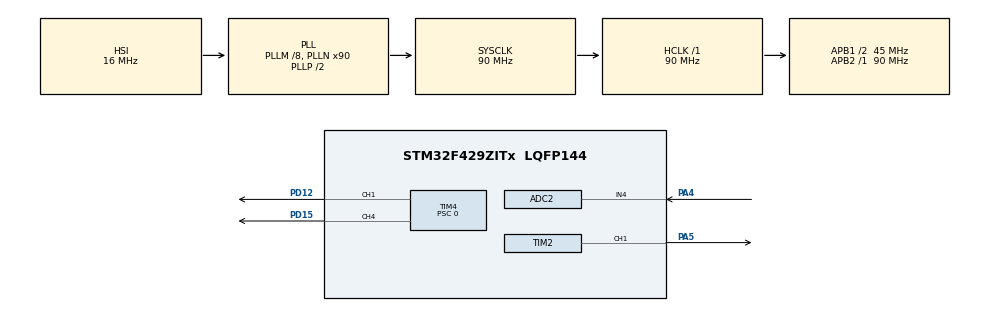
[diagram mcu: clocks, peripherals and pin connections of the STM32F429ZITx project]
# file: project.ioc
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ADC1.Channel-4\#ChannelRegularConversion=ADC_CHANNEL_TEMPSENSOR
ADC1.NbrOfConversionFlag=1
ADC1.Rank-4\#ChannelRegularConversion=1
ADC1.SamplingTime-4\#ChannelRegularConversion=ADC_SAMPLETIME_15CYCLES
ADC1.ScanConvMode=ENABLE
ADC1.master=1
ADC2.Channel-0\#ChannelRegularConversion=ADC_CHANNEL_4
ADC2.NbrOfConversionFlag=1
ADC2.Rank-0\#ChannelRegularConversion=1
ADC2.SamplingTime-0\#ChannelRegularConversion=ADC_SAMPLETIME_144CYCLES
ADC2.ScanConvMode=DISABLE
Mcu.Family=STM32F4
Mcu.Name=STM32F429ZITx
Mcu.Package=LQFP144
NVIC.ADC_IRQn=true\:0\:0\:false\:false\:true\:true\:true\:true
NVIC.PriorityGroup=NVIC_PRIORITYGROUP_4
NVIC.TIM4_IRQn=true\:0\:0\:false\:false\:true\:true\:true\:true
PA13.Mode=Serial_Wire
PA13.Signal=SYS_JTMS-SWDIO
PA14.Mode=Serial_Wire
PA14.Signal=SYS_JTCK-SWCLK
PA4.Signal=ADCx_IN4
PA5.Signal=S_TIM2_CH1_ETR
PD12.Signal=S_TIM4_CH1
PD15.Signal=S_TIM4_CH4
PH0/OSC_IN.Mode=HSE-External-Oscillator
PH0/OSC_IN.Signal=RCC_OSC_IN
PH1/OSC_OUT.Mode=HSE-External-Oscillator
PH1/OSC_OUT.Signal=RCC_OSC_OUT
ProjectManager.HeapSize=0x200
ProjectManager.StackSize=0x400
ProjectManager.TargetToolchain=STM32CubeIDE
RCC.48MHZClocksFreq_Value=45000000
RCC.AHBFreq_Value=90000000
RCC.APB1CLKDivider=RCC_HCLK_DIV2
RCC.APB1Freq_Value=45000000
RCC.APB1TimFreq_Value=90000000
RCC.APB2Freq_Value=90000000
RCC.APB2TimFreq_Value=90000000
RCC.CortexFreq_Value=90000000
RCC.HCLKFreq_Value=90000000
RCC.HSE_VALUE=25000000
RCC.HSI_VALUE=16000000
RCC.LSE_VALUE=32768
RCC.PLLM=8
RCC.PLLN=90
RCC.SYSCLKFreq_VALUE=90000000
RCC.SYSCLKSource=RCC_SYSCLKSOURCE_PLLCLK
RCC.VCOOutputFreq_Value=180000000
SH.ADCx_IN4.0=ADC2_IN4,IN4
SH.S_TIM2_CH1_ETR.0=TIM2_CH1,PWM Generation1 CH1
SH.S_TIM4_CH1.0=TIM4_CH1,PWM Generation1 CH1
SH.S_TIM4_CH4.0=TIM4_CH4,PWM Generation4 CH4
TIM2.AutoReloadPreload=TIM_AUTORELOAD_PRELOAD_ENABLE
TIM2.Channel-PWM\ Generation1\ CH1=TIM_CHANNEL_1
TIM2.Period=255
TIM2.Prescaler=49
TIM2.TIM_MasterOutputTrigger=TIM_TRGO_RESET
TIM4.Channel-PWM\ Generation1\ CH1=TIM_CHANNEL_1
TIM4.Channel-PWM\ Generation4\ CH4=TIM_CHANNEL_4
TIM4.Period=63
TIM4.Prescaler=0
VP_ADC1_TempSens_Input.Mode=IN-TempSens
VP_TIM2_VS_ClockSourceINT.Mode=Internal
VP_TIM4_VS_ClockSourceINT.Mode=Internal
board=custom

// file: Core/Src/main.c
/* USER CODE BEGIN Header */
/* USER CODE END Header */
#include "main.h"

/* USER CODE BEGIN PD */
#define tV_25   0.76f      // Напряжение (в вольтах) на датчике при температуре 25 °C.
#define tSlope  0.0025f    // �?зменение напряжения (в вольтах) при изменении температуры на градус.
#define Vref    3.0f       // Образцовое напряжение АЦП (в вольтах).
#define ADC_CHANNELS_NUM 2
/* USER CODE END PD */

 ADC_HandleTypeDef hadc1;
ADC_HandleTypeDef hadc2;

TIM_HandleTypeDef htim2;
TIM_HandleTypeDef htim4;

void SystemClock_Config(void);
static void MX_GPIO_Init(void);
static void MX_TIM2_Init(void);
static void MX_ADC1_Init(void);
static void MX_TIM4_Init(void);
static void MX_ADC2_Init(void);

/* USER CODE BEGIN 0 */
int adcConvCpltFlag = 0;
float adcData[ADC_CHANNELS_NUM];
float adcVoltage[ADC_CHANNELS_NUM];

void HAL_ADC_ConvCpltCallback(ADC_HandleTypeDef* hadc)
{
  if (hadc->Instance == ADC1){
    adcData[0] = HAL_ADC_GetValue(&hadc1);
    adcVoltage[0] = (float) adcData[0] * Vref / 4096.0;
    adcConvCpltFlag = 1;  // Установить флаг завершения преобразования
  }
  if (hadc->Instance == ADC2){
      adcData[1] = HAL_ADC_GetValue(&hadc2);
      adcVoltage[1] = (float) adcData[1] * Vref / 4095.0;
      adcConvCpltFlag = 1;  // Установить флаг завершения преобразования
    }
}

#define M_PI 3.14f
#define TAN_TABLE_SIZE 360
double tan_table[TAN_TABLE_SIZE];

void init_tan_table()
{
  for (int i = 0; i < TAN_TABLE_SIZE; i++)
  {
    double angle = (i * M_PI) / 180;
    tan_table[i] = tan(angle) / 5;
    if (fabs(tan_table[i]) >= TIM4->ARR)
    {
      tan_table[i] = tan_table[i] > 0 ? TIM4->ARR : -TIM4->ARR;
    }
  }
}

int t31 = -1;
/* USER CODE END 0 */

int main(void)
{

  /* MCU Configuration--------------------------------------------------------*/

  /* Reset of all peripherals, Initializes the Flash interface and the Systick. */
  HAL_Init();

  /* Configure the system clock */
  SystemClock_Config();

  /* Initialize all configured peripherals */
  MX_GPIO_Init();
  MX_TIM2_Init();
  MX_ADC1_Init();
  MX_TIM4_Init();
  MX_ADC2_Init();
  /* USER CODE BEGIN 2 */
  HAL_TIM_PWM_Start(&htim2, TIM_CHANNEL_1);
  HAL_TIM_PWM_Start(&htim4, TIM_CHANNEL_1);
  HAL_TIM_PWM_Start(&htim4, TIM_CHANNEL_4);

  double temp;
  int sin_index = 0;
  init_tan_table();

  int max_tim = 0;
  double max_adc = 0;

  HAL_ADC_Start_IT(&hadc1); // Запуск АЦП с прерываниями
  HAL_ADC_Start_IT(&hadc2); // Запуск АЦП с прерываниями

  /* USER CODE END 2 */

  /* Infinite loop */
  /* USER CODE BEGIN WHILE */
  while (1)
  {
    if (adcConvCpltFlag)  // Проверить флаг завершения преобразования
    {
      adcConvCpltFlag = 0;  // Сбросить флаг

      temp = (double)(adcVoltage[0] - tV_25) / tSlope + 25;

      if (temp > 36)
        TIM2->CCR1 = 0;
      else if (temp > 41)
        TIM2->CCR1 = TIM2->ARR - 1;
      else
        TIM2->CCR1 = temp / 41 * 255;

      TIM4->CCR1 = (tan_table[sin_index] + 1) * 0.5 * TIM4->ARR;
      sin_index = (sin_index + 1) % TAN_TABLE_SIZE;

      if (adcVoltage[1] > max_adc)
        max_adc = adcVoltage[1];

      float coefficient = TIM4->ARR / 3;
      t31 = (int) adcVoltage[1] * coefficient;
      TIM4->CCR4 = (int) t31;

      HAL_ADC_Start_IT(&hadc1);  // Перезапуск АЦП с прерываниями
      HAL_ADC_Start_IT(&hadc2); // Запуск АЦП с прерываниями
    }

    HAL_Delay(10);
  }
    /* USER CODE END WHILE */

}

void SystemClock_Config(void)
{
  RCC_OscInitTypeDef RCC_OscInitStruct = {0};
  RCC_ClkInitTypeDef RCC_ClkInitStruct = {0};

  /** Configure the main internal regulator output voltage
  */
  __HAL_RCC_PWR_CLK_ENABLE();
  __HAL_PWR_VOLTAGESCALING_CONFIG(PWR_REGULATOR_VOLTAGE_SCALE3);

  /** Initializes the RCC Oscillators according to the specified parameters
  * in the RCC_OscInitTypeDef structure.
  */
  RCC_OscInitStruct.OscillatorType = RCC_OSCILLATORTYPE_HSI;
  RCC_OscInitStruct.HSIState = RCC_HSI_ON;
  RCC_OscInitStruct.HSICalibrationValue = RCC_HSICALIBRATION_DEFAULT;
  RCC_OscInitStruct.PLL.PLLState = RCC_PLL_ON;
  RCC_OscInitStruct.PLL.PLLSource = RCC_PLLSOURCE_HSI;
  RCC_OscInitStruct.PLL.PLLM = 8;
  RCC_OscInitStruct.PLL.PLLN = 90;
  RCC_OscInitStruct.PLL.PLLP = RCC_PLLP_DIV2;
  RCC_OscInitStruct.PLL.PLLQ = 4;
  if (HAL_RCC_OscConfig(&RCC_OscInitStruct) != HAL_OK)
  {
    Error_Handler();
  }

  /** Activate the Over-Drive mode
  */
  if (HAL_PWREx_EnableOverDrive() != HAL_OK)
  {
    Error_Handler();
  }

  /** Initializes the CPU, AHB and APB buses clocks
  */
  RCC_ClkInitStruct.ClockType = RCC_CLOCKTYPE_HCLK|RCC_CLOCKTYPE_SYSCLK
                              |RCC_CLOCKTYPE_PCLK1|RCC_CLOCKTYPE_PCLK2;
  RCC_ClkInitStruct.SYSCLKSource = RCC_SYSCLKSOURCE_PLLCLK;
  RCC_ClkInitStruct.AHBCLKDivider = RCC_SYSCLK_DIV1;
  RCC_ClkInitStruct.APB1CLKDivider = RCC_HCLK_DIV2;
  RCC_ClkInitStruct.APB2CLKDivider = RCC_HCLK_DIV1;

  if (HAL_RCC_ClockConfig(&RCC_ClkInitStruct, FLASH_LATENCY_2) != HAL_OK)
  {
    Error_Handler();
  }
}

static void MX_ADC1_Init(void)
{

  ADC_ChannelConfTypeDef sConfig = {0};

  /** Configure the global features of the ADC (Clock, Resolution, Data Alignment and number of conversion)
  */
  hadc1.Instance = ADC1;
  hadc1.Init.ClockPrescaler = ADC_CLOCK_SYNC_PCLK_DIV4;
  hadc1.Init.Resolution = ADC_RESOLUTION_12B;
  hadc1.Init.ScanConvMode = ENABLE;
  hadc1.Init.ContinuousConvMode = DISABLE;
  hadc1.Init.DiscontinuousConvMode = DISABLE;
  hadc1.Init.ExternalTrigConvEdge = ADC_EXTERNALTRIGCONVEDGE_NONE;
  hadc1.Init.ExternalTrigConv = ADC_SOFTWARE_START;
  hadc1.Init.DataAlign = ADC_DATAALIGN_RIGHT;
  hadc1.Init.NbrOfConversion = 1;
  hadc1.Init.DMAContinuousRequests = DISABLE;
  hadc1.Init.EOCSelection = ADC_EOC_SINGLE_CONV;
  if (HAL_ADC_Init(&hadc1) != HAL_OK)
  {
    Error_Handler();
  }

  /** Configure for the selected ADC regular channel its corresponding rank in the sequencer and its sample time.
  */
  sConfig.Channel = ADC_CHANNEL_TEMPSENSOR;
  sConfig.Rank = 1;
  sConfig.SamplingTime = ADC_SAMPLETIME_15CYCLES;
  if (HAL_ADC_ConfigChannel(&hadc1, &sConfig) != HAL_OK)
  {
    Error_Handler();
  }

}

static void MX_ADC2_Init(void)
{

  ADC_ChannelConfTypeDef sConfig = {0};

  /** Configure the global features of the ADC (Clock, Resolution, Data Alignment and number of conversion)
  */
  hadc2.Instance = ADC2;
  hadc2.Init.ClockPrescaler = ADC_CLOCK_SYNC_PCLK_DIV4;
  hadc2.Init.Resolution = ADC_RESOLUTION_12B;
  hadc2.Init.ScanConvMode = DISABLE;
  hadc2.Init.ContinuousConvMode = DISABLE;
  hadc2.Init.DiscontinuousConvMode = DISABLE;
  hadc2.Init.ExternalTrigConvEdge = ADC_EXTERNALTRIGCONVEDGE_NONE;
  hadc2.Init.ExternalTrigConv = ADC_SOFTWARE_START;
  hadc2.Init.DataAlign = ADC_DATAALIGN_RIGHT;
  hadc2.Init.NbrOfConversion = 1;
  hadc2.Init.DMAContinuousRequests = DISABLE;
  hadc2.Init.EOCSelection = ADC_EOC_SINGLE_CONV;
  if (HAL_ADC_Init(&hadc2) != HAL_OK)
  {
    Error_Handler();
  }

  /** Configure for the selected ADC regular channel its corresponding rank in the sequencer and its sample time.
  */
  sConfig.Channel = ADC_CHANNEL_4;
  sConfig.Rank = 1;
  sConfig.SamplingTime = ADC_SAMPLETIME_144CYCLES;
  if (HAL_ADC_ConfigChannel(&hadc2, &sConfig) != HAL_OK)
  {
    Error_Handler();
  }

}

static void MX_TIM2_Init(void)
{

  TIM_ClockConfigTypeDef sClockSourceConfig = {0};
  TIM_MasterConfigTypeDef sMasterConfig = {0};
  TIM_OC_InitTypeDef sConfigOC = {0};

  htim2.Instance = TIM2;
  htim2.Init.Prescaler = 49;
  htim2.Init.CounterMode = TIM_COUNTERMODE_UP;
  htim2.Init.Period = 255;
  htim2.Init.ClockDivision = TIM_CLOCKDIVISION_DIV1;
  htim2.Init.AutoReloadPreload = TIM_AUTORELOAD_PRELOAD_ENABLE;
  if (HAL_TIM_Base_Init(&htim2) != HAL_OK)
  {
    Error_Handler();
  }
  sClockSourceConfig.ClockSource = TIM_CLOCKSOURCE_INTERNAL;
  if (HAL_TIM_ConfigClockSource(&htim2, &sClockSourceConfig) != HAL_OK)
  {
    Error_Handler();
  }
  if (HAL_TIM_PWM_Init(&htim2) != HAL_OK)
  {
    Error_Handler();
  }
  sMasterConfig.MasterOutputTrigger = TIM_TRGO_RESET;
  sMasterConfig.MasterSlaveMode = TIM_MASTERSLAVEMODE_DISABLE;
  if (HAL_TIMEx_MasterConfigSynchronization(&htim2, &sMasterConfig) != HAL_OK)
  {
    Error_Handler();
  }
  sConfigOC.OCMode = TIM_OCMODE_PWM1;
  sConfigOC.Pulse = 0;
  sConfigOC.OCPolarity = TIM_OCPOLARITY_HIGH;
  sConfigOC.OCFastMode = TIM_OCFAST_DISABLE;
  if (HAL_TIM_PWM_ConfigChannel(&htim2, &sConfigOC, TIM_CHANNEL_1) != HAL_OK)
  {
    Error_Handler();
  }
  HAL_TIM_MspPostInit(&htim2);

}

static void MX_TIM4_Init(void)
{

  TIM_ClockConfigTypeDef sClockSourceConfig = {0};
  TIM_MasterConfigTypeDef sMasterConfig = {0};
  TIM_OC_InitTypeDef sConfigOC = {0};

  htim4.Instance = TIM4;
  htim4.Init.Prescaler = 0;
  htim4.Init.CounterMode = TIM_COUNTERMODE_UP;
  htim4.Init.Period = 63;
  htim4.Init.ClockDivision = TIM_CLOCKDIVISION_DIV1;
  htim4.Init.AutoReloadPreload = TIM_AUTORELOAD_PRELOAD_DISABLE;
  if (HAL_TIM_Base_Init(&htim4) != HAL_OK)
  {
    Error_Handler();
  }
  sClockSourceConfig.ClockSource = TIM_CLOCKSOURCE_INTERNAL;
  if (HAL_TIM_ConfigClockSource(&htim4, &sClockSourceConfig) != HAL_OK)
  {
    Error_Handler();
  }
  if (HAL_TIM_PWM_Init(&htim4) != HAL_OK)
  {
    Error_Handler();
  }
  sMasterConfig.MasterOutputTrigger = TIM_TRGO_RESET;
  sMasterConfig.MasterSlaveMode = TIM_MASTERSLAVEMODE_DISABLE;
  if (HAL_TIMEx_MasterConfigSynchronization(&htim4, &sMasterConfig) != HAL_OK)
  {
    Error_Handler();
  }
  sConfigOC.OCMode = TIM_OCMODE_PWM1;
  sConfigOC.Pulse = 0;
  sConfigOC.OCPolarity = TIM_OCPOLARITY_HIGH;
  sConfigOC.OCFastMode = TIM_OCFAST_DISABLE;
  if (HAL_TIM_PWM_ConfigChannel(&htim4, &sConfigOC, TIM_CHANNEL_1) != HAL_OK)
  {
    Error_Handler();
  }
  if (HAL_TIM_PWM_ConfigChannel(&htim4, &sConfigOC, TIM_CHANNEL_4) != HAL_OK)
  {
    Error_Handler();
  }
  HAL_TIM_MspPostInit(&htim4);

}

static void MX_GPIO_Init(void)
{

  /* GPIO Ports Clock Enable */
  __HAL_RCC_GPIOH_CLK_ENABLE();
  __HAL_RCC_GPIOA_CLK_ENABLE();
  __HAL_RCC_GPIOD_CLK_ENABLE();

}

void Error_Handler(void)
{
  __disable_irq();
  while (1)
  {
  }
}
